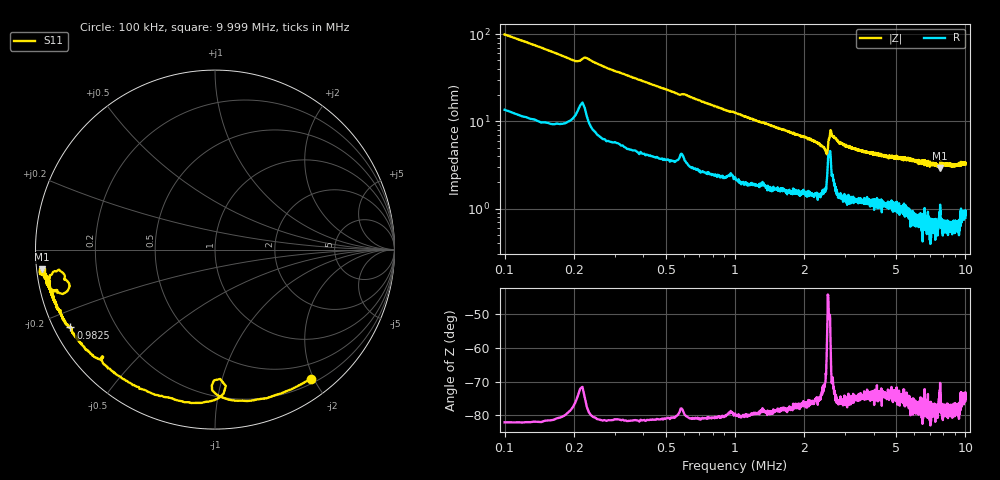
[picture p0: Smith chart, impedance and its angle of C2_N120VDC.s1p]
# HZ S RI R 50
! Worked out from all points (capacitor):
!   2020 points, 100 kHz to 9.999 MHz, reference 50 ohm
!   read as one part to ground: C = 14.5 nF near 149 kHz
!   lowest |Z| = 2.92 ohm at 7.724 MHz (marker M1)
!   S11 on the Smith chart (normalised r, x): 100 kHz: 0.27, -1.96; 982.5 kHz: 0.05, -0.25; 9.999 MHz: 0.02, -0.06
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100000  0.5345 -0.7183
129418  0.3657 -0.8022
168642  0.1524 -0.8417
222575  0.06 -0.7598
281411  -0.1847 -0.8448
330441  -0.3061 -0.8159
428501  -0.4903 -0.7319
526561  -0.6004 -0.6522
703069  -0.7154 -0.557
850159  -0.78 -0.4818
982540  -0.8059 -0.4338
1114921  -0.8395 -0.3913
1340459  -0.8674 -0.3411
1732699  -0.8994 -0.2725
2438731  -0.9239 -0.1722
2477955  -0.92 -0.1562
2522082  -0.8837 -0.1212
2576015  -0.8265 -0.1722
2644657  -0.8817 -0.23
2816262  -0.924 -0.2086
3816474  -0.9422 -0.1612
5052030  -0.9523 -0.1398
6287586  -0.9606 -0.1248
7528045  -0.9691 -0.122
7724165  -0.9644 -0.1091
7841837  -0.9641 -0.1256
8763601  -0.9669 -0.1178
9999157  -0.9619 -0.1193
